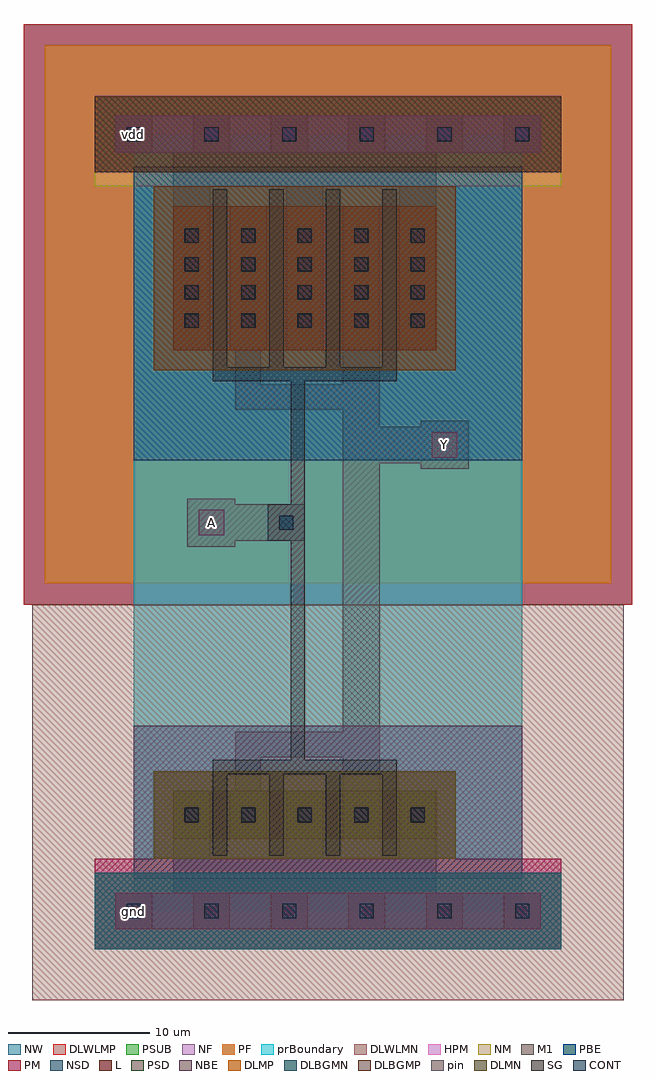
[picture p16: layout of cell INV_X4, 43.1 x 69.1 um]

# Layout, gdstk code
import gdstk
lib = gdstk.Library(unit=1e-6, precision=1e-09)
def R(c, l, rs):  # rectangles x0, y0, x1, y1
    for r in rs: c.add(gdstk.rectangle(r[:2], r[2:], *l))
def A(c, l, x, y, w, h, nx, ny, dx, dy):  # array of equal rectangles
    R(c, l, [(x+i*dx, y+j*dy, x+i*dx+w, y+j*dy+h) for i in range(nx) for j in range(ny)])
def P(c, l, *ps):  # polygons
    for p in ps: c.add(gdstk.Polygon(p, *l))
L = (3, 0)
NM = (7, 0)
SG = (8, 0)
PSD = (9, 0)
CONT = (11, 0)
M1 = (13, 0)
NF = (25, 0)
PF = (26, 0)
NSD = (28, 0)
HPM = (33, 0)
PM = (35, 0)
NW = (36, 0)
pin = (48, 1)
PSUB = (140, 0)
PBE = (146, 0)
NBE = (147, 0)
DLWLMP = (150, 0)
DLWLMN = (151, 0)
DLMP = (157, 0)
DLMN = (158, 0)
DLBGMP = (177, 0)
DLBGMN = (178, 0)
prBoundary = (235, 0)

inv_x4 = lib.new_cell('INV_X4')
A(inv_x4, L, -1.3, -1.3, 2.6, 2.6, 6, 2, 5.5, 55)
R(inv_x4, L, [(2.8,5.1,21.4,8.5), (2.8,39.7,21.4,49.9)])
R(inv_x4, NM, [(-2.75,-2.7,30.25,2.7)])
P(inv_x4, NM, [(1.4,38.3),(1.4,51.3),(-2.75,51.3),(-2.75,57.7),(30.25,57.7),(30.25,51.3),(22.8,51.3),(22.8,38.3)])
P(inv_x4, SG, [(5.6,3.9),(5.6,10.7),(11.1,10.7),(11.1,26.2),(9.5,26.2),(9.5,28.8),(11.1,28.8),(11.1,37.5),(5.6,37.5),(5.6,51.1),(6.6,51.1),(6.6,38.5),(9.6,38.5),(9.6,51.1),(10.6,51.1),(10.6,38.5),(13.6,38.5),(13.6,51.1),(14.6,51.1),(14.6,38.5),(17.6,38.5),(17.6,51.1),(18.6,51.1),(18.6,37.5),(12.1,37.5),(12.1,10.7),(18.6,10.7),(18.6,3.9),(17.6,3.9),(17.6,9.7),(14.6,9.7),(14.6,3.9),(13.6,3.9),(13.6,9.7),(10.6,9.7),(10.6,3.9),(9.6,3.9),(9.6,9.7),(6.6,9.7),(6.6,3.9)])
R(inv_x4, PSD, [(1.4,3.7,22.8,9.9), (-2.75,52.3,30.25,57.7)])
A(inv_x4, CONT, -0.5, -0.5, 1, 1, 6, 2, 5.5, 55)
A(inv_x4, CONT, 3.6, 6.3, 1, 1, 5, 2, 4, 35)
A(inv_x4, CONT, 3.6, 43.3, 1, 1, 5, 3, 4, 2)
R(inv_x4, CONT, [(10.3,27,11.3,28)])
P(inv_x4, M1, [(-1.3,-1.3),(-1.3,1.3),(2.8,1.3),(2.8,8.5),(5.4,8.5),(5.4,3.7),(10.8,3.7),(10.8,8.5),(13.4,8.5),(13.4,3.7),(18.8,3.7),(18.8,8.5),(21.4,8.5),(21.4,1.3),(28.8,1.3),(28.8,-1.3)],
  [(3.8,25.8),(3.8,29.2),(7.2,29.2),(7.2,28.8),(12.1,28.8),(12.1,26.2),(7.2,26.2),(7.2,25.8)],
  [(6.8,5.1),(6.8,8.5),(7.2,8.5),(7.2,12.7),(14.8,12.7),(14.8,35.5),(7.2,35.5),(7.2,39.7),(6.8,39.7),(6.8,49.9),(9.4,49.9),(9.4,39.7),(9,39.7),(9,37.3),(14.8,37.3),(14.8,49.9),(17.4,49.9),(17.4,34.3),(20.3,34.3),(20.3,34.7),(23.7,34.7),(23.7,31.3),(20.3,31.3),(20.3,31.7),(17.4,31.7),(17.4,5.1),(14.8,5.1),(14.8,10.9),(9,10.9),(9,8.5),(9.4,8.5),(9.4,5.1)],
  [(2.8,39.7),(2.8,53.7),(-1.3,53.7),(-1.3,56.3),(28.8,56.3),(28.8,53.7),(21.4,53.7),(21.4,39.7),(18.8,39.7),(18.8,51.3),(13.4,51.3),(13.4,39.7),(10.8,39.7),(10.8,51.3),(5.4,51.3),(5.4,39.7)])
R(inv_x4, NF, [(-6.3,23.2,33.8,61.3)])
R(inv_x4, PF, [(-6.3,23.2,33.8,61.3)])
R(inv_x4, NSD, [(-2.75,-2.7,30.25,2.7), (1.4,38.3,22.8,51.3)])
P(inv_x4, HPM, [(-2.75,-2.7),(-2.75,3.7),(1.4,3.7),(1.4,9.9),(22.8,9.9),(22.8,3.7),(30.25,3.7),(30.25,-2.7)],
  [(1.4,38.3),(1.4,51.3),(-2.75,51.3),(-2.75,57.7),(30.25,57.7),(30.25,51.3),(22.8,51.3),(22.8,38.3)])
R(inv_x4, PM, [(-2.75,52.3,30.25,57.7)])
P(inv_x4, PM, [(-2.75,-2.7),(-2.75,3.7),(1.4,3.7),(1.4,9.9),(22.8,9.9),(22.8,3.7),(30.25,3.7),(30.25,-2.7)])
R(inv_x4, NW, [(-7.8,21.7,35.3,62.8)])
R(inv_x4, pin, [(-1.3,-1.3,28.8,1.3), (4.6,26.6,6.4,28.4), (21.1,32.1,22.9,33.9), (-1.3,53.7,28.8,56.3)])
R(inv_x4, PSUB, [(-6.3,23.2,33.8,61.3)])
R(inv_x4, PBE, [(0,31.9,27.5,52.7)])
R(inv_x4, NBE, [(0,2.3,27.5,13.1)])
R(inv_x4, DLWLMP, [(-7.8,21.7,35.3,62.8)])
R(inv_x4, DLWLMN, [(-7.2,-6.3,34.7,21.7)])
R(inv_x4, DLMP, [(1.4,38.3,22.8,51.3)])
R(inv_x4, DLMN, [(1.4,3.7,22.8,9.9)])
R(inv_x4, DLBGMP, [(-2.75,52.3,30.25,57.7)])
R(inv_x4, DLBGMN, [(-2.75,-2.7,30.25,2.7)])
R(inv_x4, prBoundary, [(0,0,27.5,55)])
inv_x4.add(gdstk.Label('Y', (22,33), layer=48, texttype=0))
inv_x4.add(gdstk.Label('A', (5.5,27.5), layer=48, texttype=0))
inv_x4.add(gdstk.Label('vdd', (0,55), layer=48, texttype=0))
inv_x4.add(gdstk.Label('gnd', (0,0), layer=48, texttype=0))

lib.write_gds('INV_X4.gds')
